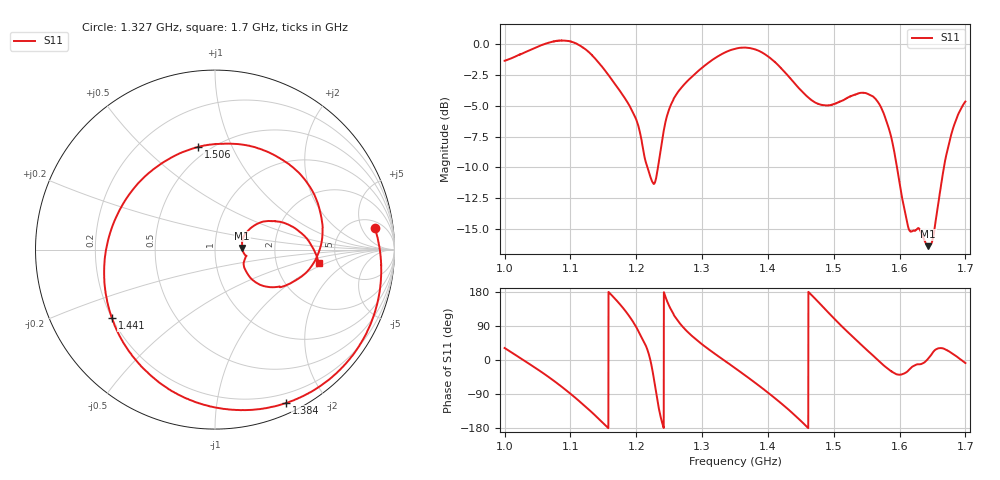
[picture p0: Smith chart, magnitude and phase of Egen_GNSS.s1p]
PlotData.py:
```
import numpy as np
import matplotlib.pyplot as plt
import matplotlib.ticker as ticker  

def plot_s11_comparison(file_paths, labels=None):
 
    fig, ax = plt.subplots(figsize=(12, 7))
    
    if labels is None:
        labels = file_paths

    for file, label in zip(file_paths, labels):
        data = np.loadtxt(file, comments=['#', '!'])
        
        freq_ghz = data[:, 0] / 1e9 
        
        s11_db = 20 * np.log10(np.abs(data[:, 1] + 1j * data[:, 2]))
        
        ax.plot(freq_ghz, s11_db, label=label)

    ax.yaxis.set_major_locator(ticker.MultipleLocator(1))
    
    ax.axvspan(1.164, 1.189, color='cyan', alpha=0.1, label='L5 Band')
    ax.axvspan(1.559, 1.591, color='magenta', alpha=0.1, label='L1 Band')

    ax.axhline(-10, color='red', linestyle='--', linewidth=1, label='-10dB Match')

    ax.set_title('S11 Return Loss')
    ax.set_xlabel('Frequency (GHz)')
    ax.set_ylabel('Magnitude (dB)')
    ax.grid(True, which='both', linestyle=':', alpha=0.5)
    ax.legend(loc='upper right', fontsize='small')
    ax.set_xlim(1.1, 1.7)
    plt.tight_layout()
    plt.show()


files_to_plot = [ 'Dipol.s1p','Egen_GNSS.s1p']
display_names = ['Dipol Antenn A', 'Egen GNSS Antenna B']

plot_s11_comparison(files_to_plot, labels=display_names)
```
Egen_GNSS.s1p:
# HZ S RI R 50
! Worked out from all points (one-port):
!   3030 points, 1 GHz to 1.7 GHz, reference 50 ohm
!   lowest |S11| = -16.4 dB at 1.643 GHz (marker M1), VSWR 1.36, Z = 67.8 + j1.29 ohm
!   |S11| at or under -10 dB: 1.217 GHz to 1.233 GHz (15.81 MHz wide, 1.29 % of centre); 1.596 GHz to 1.667 GHz (71.18 MHz wide, 4.36 % of centre)
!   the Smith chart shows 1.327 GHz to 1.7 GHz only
!   S11 on the Smith chart (normalised r, x): 1.327 GHz: 7, +9; 1.384 GHz: 0.10, -1.56; 1.441 GHz: 0.20, -0.29; 1.506 GHz: 0.44, +0.75; 1.7 GHz: 3.59, -0.82
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1e9  0.728 0.4483
1.094751e9  0.1519 -1.019
1.143512e9  -0.7631 -0.3411
1.188808e9  -0.2573 0.5056
1.23341e9  -0.1589 -0.2802
1.270386e9  0.0224 0.6739
1.326543e9  0.8915 0.1177
1.384318e9  0.3982 -0.8543
1.441168e9  -0.5744 -0.382
1.46682e9  -0.5827 0.0978
1.506338e9  -0.0931 0.5717
1.64338e9  0.1515 0.0093
1.699537e9  0.5776 -0.0753
1.699999e9  0.5788 -0.0824
